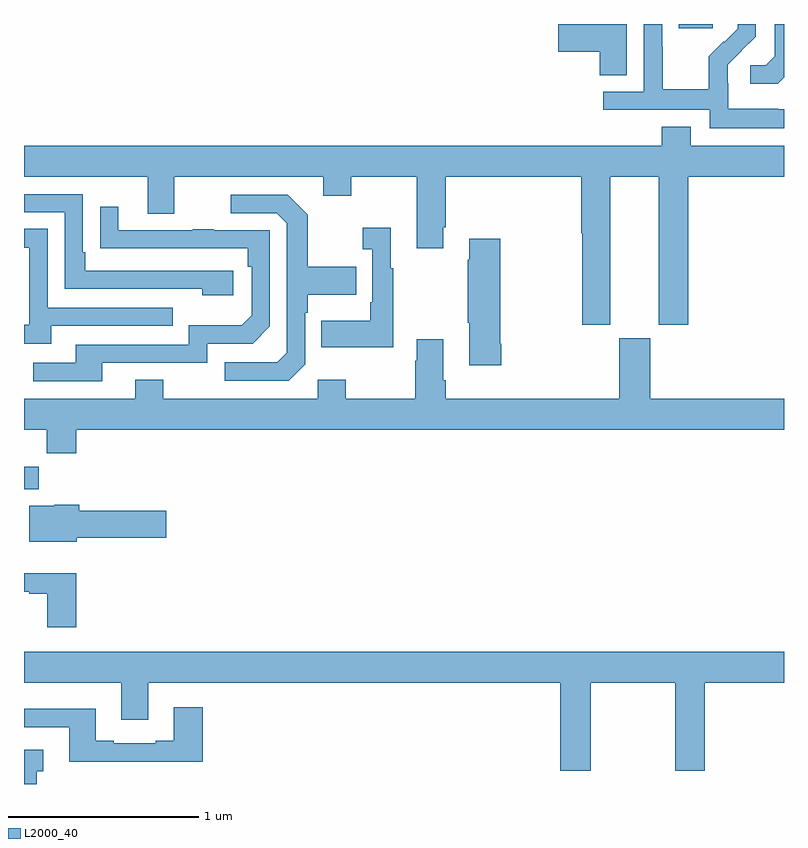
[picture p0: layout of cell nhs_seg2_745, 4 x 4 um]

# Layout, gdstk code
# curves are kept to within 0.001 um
import gdstk
lib = gdstk.Library(unit=1e-6, precision=1e-09)
def R(c, l, rs):  # rectangles x0, y0, x1, y1
    for r in rs: c.add(gdstk.rectangle(r[:2], r[2:], *l))
def P(c, l, *ps):  # polygons
    for p in ps: c.add(gdstk.Polygon(p, *l))
L2000_40 = (2000, 40)

nhs_seg2_745 = lib.new_cell('nhs_seg2_745')
R(nhs_seg2_745, L2000_40, [(149,619.352,149.078,619.471), (152.447,621.777,152.626,621.8)])
P(nhs_seg2_745, L2000_40, [(153,621.519),(153,621.8),(152.951,621.8),(152.951,621.629),(152.904,621.582),(152.823,621.582),(152.823,621.485),(152.966,621.485)],
  [(153,621.351),(152.969,621.351),(152.969,621.355),(152.706,621.355),(152.706,621.489),(152.704,621.489),(152.704,621.586),(152.85,621.734),(152.85,621.8),(152.756,621.8),(152.756,621.776),(152.685,621.705),(152.682,621.708),(152.605,621.631),(152.605,621.457),(152.361,621.457),(152.361,621.68),(152.358,621.68),(152.358,621.8),(152.262,621.8),(152.262,621.444),(152.049,621.444),(152.049,621.348),(152.61,621.348),(152.61,621.251),(153,621.251)],
  [(152.173,621.8),(151.812,621.8),(151.812,621.653),(152.03,621.653),(152.03,621.529),(152.173,621.529)],
  [(152.086,620.996),(152.342,620.996),(152.342,620.217),(152.495,620.217),(152.495,620.996),(153,620.996),(153,621.16),(152.509,621.16),(152.509,621.259),(152.357,621.259),(152.357,621.16),(149,621.16),(149,620.996),(149.651,620.996),(149.651,620.802),(149.791,620.802),(149.791,620.996),(150.575,620.996),(150.575,620.897),(150.723,620.897),(150.723,620.996),(151.067,620.996),(151.067,620.619),(151.207,620.619),(151.207,620.731),(151.22,620.731),(151.22,620.996),(151.934,620.996),(151.934,620.7),(151.939,620.7),(151.939,620.217),(152.086,620.217)],
  [(150.1,620.502),(149.323,620.502),(149.323,620.599),(149.31,620.599),(149.31,620.904),(149,620.904),(149,620.808),(149.214,620.808),(149.214,620.406),(149.939,620.406),(149.939,620.372),(150.1,620.372)],
  [(150.48,620.01),(150.48,620.279),(150.493,620.279),(150.493,620.375),(150.749,620.375),(150.749,620.523),(150.493,620.523),(150.493,620.795),(150.387,620.901),(150.087,620.901),(150.087,620.805),(150.33,620.805),(150.384,620.751),(150.384,620.07),(150.333,620.019),(150.057,620.019),(150.057,619.923),(150.393,619.923)],
  [(149.413,620.016),(149.964,620.016),(149.964,620.118),(150.204,620.118),(150.294,620.208),(150.294,620.715),(149.999,620.715),(149.999,620.72),(149.887,620.72),(149.887,620.715),(149.497,620.715),(149.497,620.839),(149.401,620.839),(149.401,620.62),(150.178,620.619),(150.178,620.522),(150.198,620.522),(150.198,620.268),(150.145,620.215),(149.868,620.215),(149.868,620.112),(149.273,620.112),(149.273,620.016),(149.049,620.016),(149.049,619.92),(149.413,619.92)],
  [(150.943,620.515),(150.931,620.515),(150.931,620.728),(150.783,620.728),(150.783,620.615),(150.834,620.615),(150.834,620.335),(150.822,620.335),(150.822,620.239),(150.565,620.239),(150.565,620.099),(150.943,620.099)],
  [(149.143,620.211),(149.783,620.211),(149.783,620.307),(149.124,620.307),(149.124,620.723),(149,620.723),(149,620.622),(149.028,620.622),(149.028,620.217),(149,620.217),(149,620.117),(149.143,620.117)],
  [(151.511,620.116),(151.506,620.116),(151.506,620.671),(151.343,620.671),(151.343,620.558),(151.336,620.558),(151.336,620.227),(151.343,620.227),(151.343,620.004),(151.511,620.004)],
  [(153,619.828),(152.296,619.828),(152.296,620.145),(152.132,620.145),(152.132,619.828),(151.22,619.828),(151.22,619.924),(151.207,619.924),(151.207,620.14),(151.067,620.14),(151.067,620.027),(151.06,620.027),(151.06,619.828),(150.693,619.828),(150.693,619.927),(150.546,619.927),(150.546,619.828),(149.733,619.828),(149.733,619.927),(149.585,619.927),(149.585,619.828),(149,619.828),(149,619.664),(149.119,619.664),(149.119,619.54),(149.276,619.54),(149.276,619.664),(153,619.664)],
  [(149.278,619.097),(149.749,619.097),(149.749,619.239),(149.291,619.239),(149.291,619.27),(149.16,619.27),(149.16,619.264),(149.027,619.264),(149.027,619.076),(149.278,619.076)],
  [(149.276,618.91),(149,618.91),(149,618.813),(149.027,618.813),(149.027,618.801),(149.123,618.801),(149.123,618.624),(149.276,618.624)],
  [(151.983,618.332),(152.428,618.332),(152.428,617.871),(152.583,617.871),(152.583,618.332),(153,618.332),(153,618.496),(149,618.496),(149,618.332),(149.513,618.332),(149.513,618.138),(149.653,618.138),(149.653,618.332),(151.823,618.332),(151.823,617.871),(151.983,617.871)],
  [(149.942,618.205),(149.789,618.205),(149.789,618.028),(149.693,618.028),(149.693,618.015),(149.473,618.015),(149.473,618.028),(149.377,618.028),(149.377,618.196),(149,618.196),(149,618.099),(149.237,618.099),(149.237,617.918),(149.942,617.918)],
  [(149.068,617.867),(149.101,617.867),(149.101,617.98),(149,617.98),(149,617.8),(149.068,617.8)])

lib.write_gds('nhs_seg2_745.gds')
